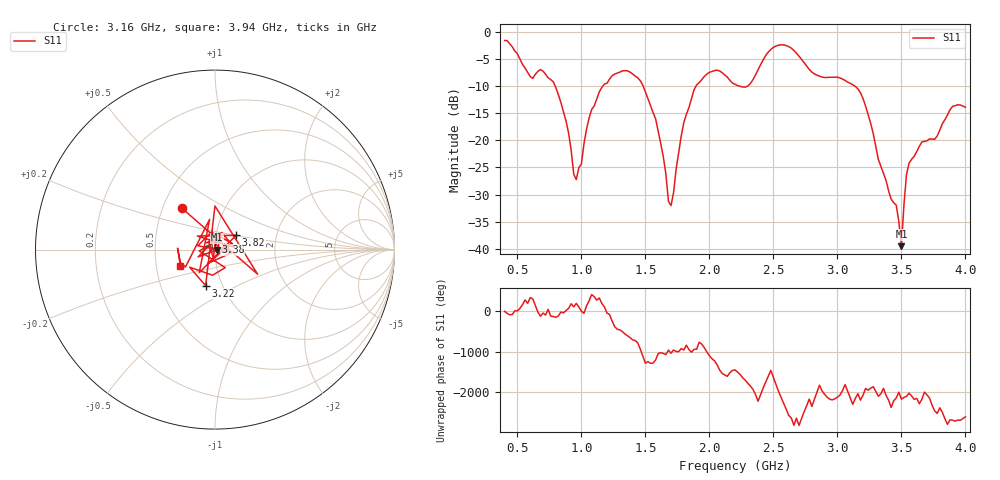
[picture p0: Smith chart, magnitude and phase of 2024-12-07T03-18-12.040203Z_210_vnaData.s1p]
!Created with skrf (http://scikit-rf.org).
# Hz S RI R 50.0
!freq ReS11 ImS11
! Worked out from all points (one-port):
!   181 points, 400 MHz to 4 GHz, reference 50 ohm
!   lowest |S11| = -39.5 dB at 3.5 GHz (marker M1), VSWR 1.02, Z = 51.1 - j0.0796 ohm
!   |S11| at or under -10 dB: 794.9 MHz to 1.168 GHz (373 MHz wide, 38 % of centre); 1.483 GHz to 1.895 GHz (412.7 MHz wide, 24.4 % of centre); 3.137 GHz to end of sweep (the widest 3 of 4)
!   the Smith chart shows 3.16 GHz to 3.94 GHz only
!   S11 on the Smith chart (normalised r, x): 3.16 GHz: 0.62, +0.32; 3.22 GHz: 0.83, -0.35; 3.38 GHz: 1.00, +0.09; 3.82 GHz: 1.25, +0.20; 3.94 GHz: 0.67, -0.12
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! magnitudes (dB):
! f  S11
! 400 MHz  -1.6
! 600 MHz  -8.2
! 780 MHz  -9.2
! 860 MHz  -14.7
! 960 MHz  -27.2
! 1.08 GHz  -14.3
! 1.3 GHz  -7.4
! 1.5 GHz  -11.1
! 1.58 GHz  -16.0
! 1.7 GHz  -32.0
! 1.76 GHz  -22.2
! 1.9 GHz  -9.8
! 2.06 GHz  -7.1
! 2.2 GHz  -9.7
! 2.32 GHz  -9.5
! 2.5 GHz  -2.9
! 2.66 GHz  -3.4
! 3.1 GHz  -9.5
! 3.16 GHz  -10.5
! 3.22 GHz  -13.7
! 3.38 GHz  -27.4
! 3.46 GHz  -31.9
! 3.5 GHz  -39.5
! 3.54 GHz  -26.3
! 3.56 GHz  -24.2
! 3.82 GHz  -17.0
! 3.94 GHz  -13.4
! 4 GHz  -13.9
